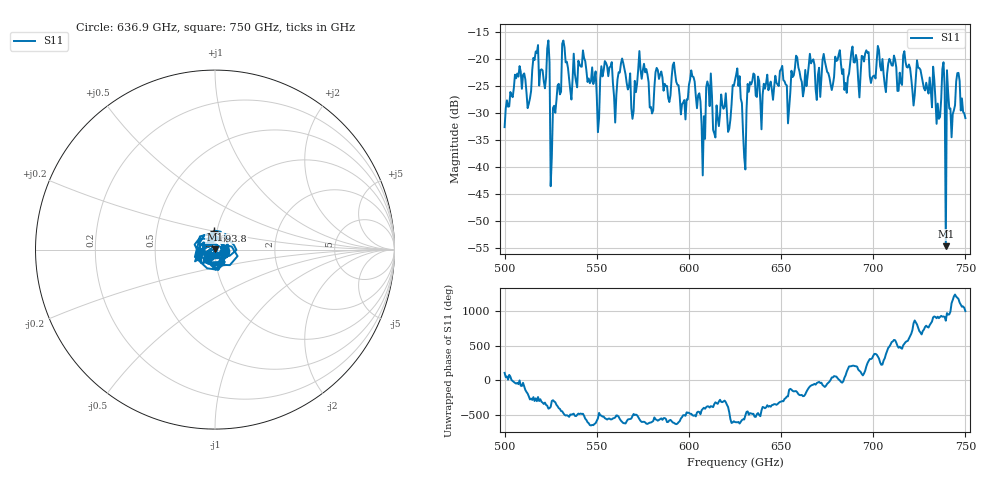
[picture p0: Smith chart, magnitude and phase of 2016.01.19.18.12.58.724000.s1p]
!Created with skrf (http://scikit-rf.org).
# GHz S RI R 50.0
!freq ReS11 ImS11
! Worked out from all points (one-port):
!   401 points, 500 GHz to 750 GHz, reference 50 ohm
!   lowest |S11| = -54.6 dB at 739.4 GHz (marker M1), VSWR 1.00, Z = 49.9 + j0.119 ohm
!   |S11| at or under -10 dB: start of sweep to end of sweep
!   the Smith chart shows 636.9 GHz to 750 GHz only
!   S11 on the Smith chart (normalised r, x): 636.9 GHz: 0.95, -0.07; 693.8 GHz: 0.97, +0.21; 750 GHz: 1.01, -0.06
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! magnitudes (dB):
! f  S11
! 500 GHz  -32.7
! 506.9 GHz  -22.8
! 513.1 GHz  -28.3
! 516.9 GHz  -18.7
! 523.1 GHz  -18.1
! 526.2 GHz  -29.1
! 531.2 GHz  -17.3
! 550 GHz  -26.9
! 562.5 GHz  -22.6
! 570 GHz  -29.7
! 574.4 GHz  -23.7
! 580 GHz  -30.1
! 583.1 GHz  -22.1
! 593.8 GHz  -24.8
! 601.9 GHz  -23.3
! 607.5 GHz  -41.6
! 610.6 GHz  -25.1
! 614.4 GHz  -34.6
! 625 GHz  -24.0
! 630 GHz  -38.2
! 636.9 GHz  -27.1
! 656.2 GHz  -23.4
! 687.5 GHz  -20.7
! 693.8 GHz  -19.5
! 718.8 GHz  -21.7
! 739.4 GHz  -54.6
! 745.6 GHz  -22.7
! 750 GHz  -31.0
